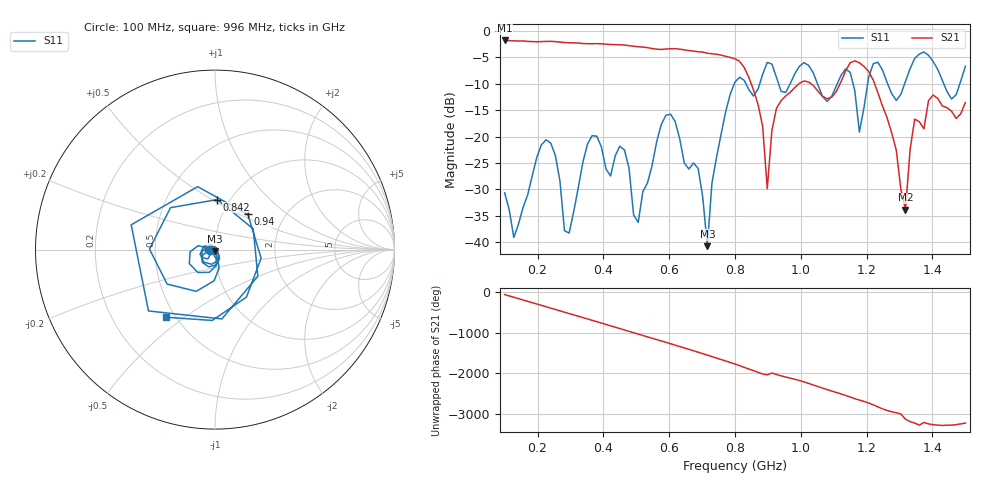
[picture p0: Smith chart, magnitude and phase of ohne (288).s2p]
! NanoVNA-App
! Date: 2025-09-25 14:23:02
! Start: 100MHz Stop: 1,5GHz Points: 101
! S-Parameter data: F S11 S21 S12 S22
# Hz S RI R 50
!  Frequency  S11_Real  S11_Imag  S21_Real  S21_Imag  S12_Real  S12_Imag  S22_Real  S22_Imag
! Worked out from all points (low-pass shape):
!   101 points, 100 MHz to 1.5 GHz, reference 50 ohm
!   highest |S21| = -1.79 dB at 100 MHz (marker M1); lowest = -33.9 dB at 1.318 GHz (marker M2)
!   |S21| within 3 dB of the highest: start of sweep to 771.2 MHz
!   lowest |S11| = -40.7 dB at 716 MHz (marker M3), VSWR 1.02, Z = 49.9 - j0.906 ohm
!   |S11| at or under -10 dB: start of sweep to 797.9 MHz; 833.2 MHz to 875.1 MHz (41.87 MHz wide, 4.9 % of centre); 1.051 GHz to 1.111 GHz (60.06 MHz wide, 5.56 % of centre) (the widest 3 of 7)
!   S12 and S22 are empty: the file has one direction only
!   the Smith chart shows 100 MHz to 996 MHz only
!   S11 on the Smith chart (normalised r, x): 100 MHz: 0.94, -0.01; 842 MHz: 0.88, +0.53; 940 MHz: 1.31, +0.56; 996 MHz: 0.45, -0.43
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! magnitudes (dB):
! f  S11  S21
! 100 MHz  -30.6  -1.8
! 128 MHz  -39.1  -1.9
! 226 MHz  -20.6  -2.0
! 296 MHz  -38.3  -2.2
! 338 MHz  -24.8  -2.4
! 464 MHz  -22.5  -2.7
! 506 MHz  -36.2  -3.0
! 576 MHz  -17.7  -3.5
! 688 MHz  -26.0  -3.9
! 716 MHz  -40.7  -4.2
! 800 MHz  -9.7  -5.3
! 842 MHz  -11.1  -8.8
! 898 MHz  -5.9  -29.9
! 940 MHz  -11.4  -13.2
! 996 MHz  -6.7  -9.9
! 1.038 GHz  -8.0  -10.3
! 1.178 GHz  -19.1  -6.0
! 1.22 GHz  -6.2  -9.3
! 1.276 GHz  -11.9  -19.3
! 1.318 GHz  -9.5  -33.9
! 1.346 GHz  -5.2  -16.7
! 1.5 GHz  -6.7  -13.5
